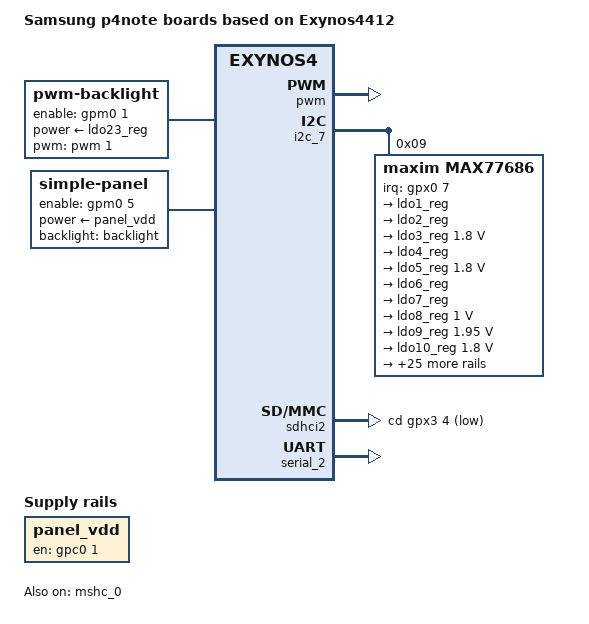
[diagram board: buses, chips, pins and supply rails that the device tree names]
/dts-v1/;
#include <dt-bindings/gpio/gpio.h>
#include "exynos4412.dtsi"

/ {
	model = "Samsung p4note boards based on Exynos4412";
	compatible = "samsung,p4note", "samsung,exynos4412", "samsung,exynos4";

	aliases {
		mmc0 = &mshc_0;
		mmc2 = &sdhci2;
	};

	chosen {
		stdout-path = &serial_2;
	};

	pwm: pwm@139d0000 {
		compatible = "samsung,exynos4210-pwm";
		reg = <0x139d0000 0x1000>;
		samsung,pwm-outputs = <0>, <1>, <2>, <3>;
		#pwm-cells = <3>;
	};

	backlight: backlight {
		compatible = "pwm-backlight";
		pwms = <&pwm 1 32768 0>;
		brightness-levels = <0 100 500 1000 1500 2000 2500 2800>;
		default-brightness-level = <6>;
		enable-gpios = <&gpm0 1 GPIO_ACTIVE_HIGH>;
		power-supply = <&ldo23_reg>;
	};

	panel_vdd: voltage-regulator-1 {
		compatible = "regulator-fixed";
		regulator-name = "LCD_ENABLE";
		gpio = <&gpc0 1 GPIO_ACTIVE_HIGH>;
		enable-active-high;
		regulator-boot-on;
	};

	panel: panel {
		compatible = "simple-panel";
		power-supply = <&panel_vdd>;
		backlight = <&backlight>;
		enable-gpios = <&gpm0 5 GPIO_ACTIVE_HIGH>;
	};

	fimd@11c00000 {
		u-boot,dm-pre-reloc;
		compatible = "samsung,exynos-fimd";
		reg = <0x11c00000 0xa4>;

		samsung,vl-freq = <60>;
		samsung,vl-col = <1280>;
		samsung,vl-row = <800>;
		samsung,vl-width = <217>;
		samsung,vl-height = <135>;

		samsung,vl-clkp;
		samsung,vl-hsp;
		samsung,vl-vsp;
		samsung,vl-dp;

		samsung,vl-bpix = <4>;

		samsung,vl-hspw = <16>;
		samsung,vl-hbpd = <36>;
		samsung,vl-hfpd = <18>;
		samsung,vl-vspw = <3>;
		samsung,vl-vbpd = <16>;
		samsung,vl-vfpd = <4>;
		samsung,vl-cmd-allow-len = <0xf>;

		samsung,power-on-delay = <30>;
		samsung,winid = <3>;
		samsung,interface-mode = <1>;
		samsung,dp-enabled = <0>;

		samsung,logo-on = <0>;
		samsung,rgb-mode = <0>;
	};
};

&i2c_7 {
	samsung,i2c-sda-delay = <100>;
	samsung,i2c-slave-addr = <0x10>;
	samsung,i2c-max-bus-freq = <400000>;
	status = "okay";

	max77686: max77686_pmic@9 {
		compatible = "maxim,max77686";
		interrupt-parent = <&gpx0>;
		interrupts = <7 0>;
		reg = <0x09>;
		#clock-cells = <1>;

		voltage-regulators {
			ldo1_reg: LDO1 {
        regulator-compatible = "LDO1";
				regulator-name = "ldo1";
				regulator-always-on;
				regulator-boot-on;
			};

			ldo2_reg: LDO2 {
        regulator-compatible = "LDO2";
				regulator-name = "ldo2";
				regulator-always-on;
				regulator-boot-on;
			};

			ldo3_reg: LDO3 {
        regulator-compatible = "LDO3";
				regulator-name = "VCC_1.8V_AP";
				regulator-min-microvolt = <1800000>;
				regulator-max-microvolt = <1800000>;
				regulator-always-on;
				regulator-boot-on;
			};

			ldo4_reg: LDO4 {
        regulator-compatible = "LDO4";
				regulator-name = "ldo4";
				regulator-always-on;
				regulator-boot-on;
			};

			ldo5_reg: LDO5 {
        regulator-compatible = "LDO5";
				regulator-name = "VCC_1.8V_IO";
				regulator-min-microvolt = <1800000>;
				regulator-max-microvolt = <1800000>;

				regulator-state-mem {
					regulator-off-in-suspend;
				};
			};

			ldo6_reg: LDO6 {
        regulator-compatible = "LDO6";
				regulator-name = "ldo6";
				regulator-always-on;
				regulator-boot-on;
			};

			ldo7_reg: LDO7 {
        regulator-compatible = "LDO7";
				regulator-name = "ldo7";
				regulator-always-on;
				regulator-boot-on;
			};

			ldo8_reg: LDO8 {
        regulator-compatible = "LDO8";
				regulator-name = "VMIPI_1.0V";
				regulator-min-microvolt = <1000000>;
				regulator-max-microvolt = <1000000>;
				regulator-always-on;
				regulator-boot-on;

				regulator-state-mem {
					regulator-on-in-suspend;
				};
			};

			ldo9_reg: LDO9 {
        regulator-compatible = "LDO9";
				regulator-name = "VLED_IC_1.9V";
				regulator-min-microvolt = <1950000>;
				regulator-max-microvolt = <1950000>;
        regulator-always-on;
				regulator-boot-on;

				regulator-state-mem {
					regulator-off-in-suspend;
				};
			};

			ldo10_reg: LDO10 {
        regulator-compatible = "LDO10";
				regulator-name = "VMIPI_1.8V";
				regulator-min-microvolt = <1800000>;
				regulator-max-microvolt = <1800000>;
				regulator-always-on;
				regulator-boot-on;

				regulator-state-mem {
					regulator-on-in-suspend;
				};
			};

			ldo11_reg: LDO11 {
        regulator-compatible = "LDO11";
				regulator-name = "VABB1_1.9V";
				regulator-min-microvolt = <1950000>;
				regulator-max-microvolt = <1950000>;
				regulator-always-on;
				regulator-boot-on;

				regulator-state-mem {
					regulator-off-in-suspend;
				};
			};

			ldo12_reg: LDO12 {
        regulator-compatible = "LDO12";
				regulator-name = "VUOTG_3.0V";
				regulator-min-microvolt = <3000000>;
				regulator-max-microvolt = <3000000>;
				regulator-always-on;
				regulator-boot-on;

				regulator-state-mem {
					regulator-on-in-suspend;
				};
			};

			ldo13_reg: LDO13 {
        regulator-compatible = "LDO13";
				regulator-name = "ldo13";
			};

			ldo14_reg: LDO14 {
        regulator-compatible = "LDO14";
				regulator-name = "VABB2_1.9V";
				regulator-min-microvolt = <1950000>;
				regulator-max-microvolt = <1950000>;
				regulator-always-on;
				regulator-boot-on;

				regulator-state-mem {
					regulator-off-in-suspend;
				};
			};

			ldo15_reg: LDO15 {
        regulator-compatible = "LDO15";
				regulator-name = "ldo15";
				regulator-always-on;
				regulator-boot-on;
			};

			ldo16_reg: LDO16 {
        regulator-compatible = "LDO16";
				regulator-name = "ldo16";
				regulator-always-on;
				regulator-boot-on;
			};

			ldo17_reg: LDO17 {
        regulator-compatible = "LDO17";
				regulator-name = "ldo17";
			};

			ldo18_reg: LDO18 {
        regulator-compatible = "LDO18";
				regulator-name = "CAM_IO_1.8V";
				regulator-min-microvolt = <1800000>;
				regulator-max-microvolt = <1800000>;
        regulator-always-on;
				regulator-boot-on;

				regulator-state-mem {
					regulator-off-in-suspend;
				};
			};

			ldo19_reg: LDO19 {
        regulator-compatible = "LDO19";
				regulator-name = "VT_CORE_1.8V";
				regulator-min-microvolt = <1800000>;
				regulator-max-microvolt = <1800000>;
        regulator-always-on;
				regulator-boot-on;

				regulator-state-mem {
					regulator-off-in-suspend;
				};
			};

			ldo20_reg: LDO20 {
        regulator-compatible = "LDO20";
				regulator-name = "ldo20";
			};

			ldo21_reg: LDO21 {
        regulator-compatible = "LDO21";
				regulator-name = "VTF_2.8V";
				regulator-min-microvolt = <2800000>;
				regulator-max-microvolt = <2800000>;
				maxim,ena-gpios = <&gpy2 0 GPIO_ACTIVE_HIGH>;
			};

			ldo22_reg: LDO22 {
        regulator-compatible = "LDO22";
				regulator-name = "ldo22";
			};

			ldo23_reg: LDO23 {
        regulator-compatible = "LDO23";
				regulator-name = "VDD_ADC_3.3V";
				regulator-min-microvolt = <3300000>;
				regulator-max-microvolt = <3300000>;
				regulator-always-on;
				regulator-boot-on;

				regulator-state-mem {
					regulator-off-in-suspend;
				};
			};

			ldo24_reg: LDO24 {
        regulator-compatible = "LDO24";
				regulator-name = "CAM_A2.8V";
				regulator-min-microvolt = <2800000>;
				regulator-max-microvolt = <2800000>;
        regulator-always-on;
				regulator-boot-on;

				regulator-state-mem {
					regulator-off-in-suspend;
				};
			};

			ldo25_reg: LDO25 {
        regulator-compatible = "LDO25";
				regulator-name = "VLED_3.3V";
				regulator-min-microvolt = <3300000>;
				regulator-max-microvolt = <3300000>;
        regulator-always-on;
				regulator-boot-on;

				regulator-state-mem {
					regulator-off-in-suspend;
				};
			};

			ldo26_reg: LDO26 {
        regulator-compatible = "LDO26";
				regulator-name = "3MP_AF_2.8V";
				regulator-min-microvolt = <2800000>;
				regulator-max-microvolt = <2800000>;
        regulator-always-on;
				regulator-boot-on;

				regulator-state-mem {
					regulator-off-in-suspend;
				};
			};

			buck1_reg: BUCK1 {
        regulator-compatible = "BUCK1";
				regulator-name = "VDD_MIF";
				regulator-min-microvolt = <850000>;
				regulator-max-microvolt = <1050000>;
				regulator-always-on;
				regulator-boot-on;
			};

			buck2_reg: BUCK2 {
        regulator-compatible = "BUCK2";
				regulator-name = "VDD_ARM";
				regulator-min-microvolt = <850000>;
				regulator-max-microvolt = <1500000>;
				regulator-always-on;
				regulator-boot-on;
			};

			buck3_reg: BUCK3 {
        regulator-compatible = "BUCK3";
				regulator-name = "VDD_INT";
				regulator-min-microvolt = <850000>;
				regulator-max-microvolt = <1100000>;
				regulator-always-on;
				regulator-boot-on;
			};

			buck4_reg: BUCK4 {
        regulator-compatible = "BUCK5";
				regulator-name = "VDD_G3D";
				regulator-min-microvolt = <850000>;
				regulator-max-microvolt = <1075000>;
				regulator-always-on;
				regulator-boot-on;
			};

			buck5_reg: BUCK5 {
        regulator-compatible = "BUCK5";
				regulator-name = "buck5";
				regulator-always-on;
				regulator-boot-on;
			};

			buck6_reg: BUCK6 {
        regulator-compatible = "BUCK6";
				regulator-name = "buck6";
				regulator-always-on;
				regulator-boot-on;
			};

			buck7_reg: BUCK7 {
        regulator-compatible = "BUCK7";
				regulator-name = "buck7";
				regulator-always-on;
				regulator-boot-on;
			};

			buck8_reg: BUCK8 {
        regulator-compatible = "BUCK8";
				regulator-name = "buck8";
			};

			buck9_reg: BUCK9 {
        regulator-compatible = "BUCK9";
				regulator-name = "3MP_CORE_1.2V";
				regulator-min-microvolt = <1200000>;
				regulator-max-microvolt = <1200000>;
				regulator-always-on;
				regulator-boot-on;

				regulator-state-mem {
					regulator-off-in-suspend;
				};
			};
		};
	};
};

&sdhci2 {
	samsung,bus-width = <4>;
	samsung,timing = <1 2 3>;
	cd-inverted;
	cd-gpios = <&gpx3 4 GPIO_ACTIVE_HIGH>;
	status = "okay";
};

&serial_2 {
	status = "okay";
};

&mshc_0 {
	samsung,bus-width = <8>;
	samsung,timing = <2 1 0>;
	samsung,removable = <0>;
	fifoth_val = <0x203f0040>;
	bus_hz = <400000000>;
	div = <0x0>;
	index = <4>;
	fifo-depth = <0x80>;
	status = "okay";
};
